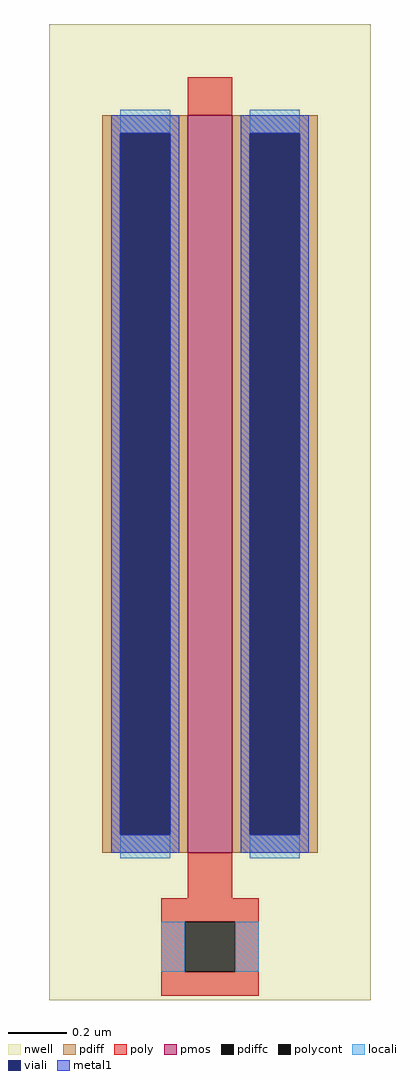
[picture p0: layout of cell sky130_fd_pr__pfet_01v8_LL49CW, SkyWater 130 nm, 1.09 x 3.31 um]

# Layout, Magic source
magic
tech sky130A
magscale 1 2
<< nwell >>
rect -109 -314 109 348
<< pmos >>
rect -15 -214 15 286
<< pdiff >>
rect -73 274 -15 286
rect -73 -202 -61 274
rect -27 -202 -15 274
rect -73 -214 -15 -202
rect 15 274 73 286
rect 15 -202 27 274
rect 61 -202 73 274
rect 15 -214 73 -202
<< pdiffc >>
rect -61 -202 -27 274
rect 27 -202 61 274
<< poly >>
rect -15 286 15 312
rect -15 -245 15 -214
rect -33 -261 33 -245
rect -33 -295 -17 -261
rect 17 -295 33 -261
rect -33 -311 33 -295
<< polycont >>
rect -17 -295 17 -261
<< locali >>
rect -61 274 -27 290
rect -61 -218 -27 -202
rect 27 274 61 290
rect 27 -218 61 -202
rect -33 -295 -17 -261
rect 17 -295 33 -261
<< viali >>
rect -61 -202 -27 274
rect 27 -202 61 274
<< metal1 >>
rect -67 274 -21 286
rect -67 -202 -61 274
rect -27 -202 -21 274
rect -67 -214 -21 -202
rect 21 274 67 286
rect 21 -202 27 274
rect 61 -202 67 274
rect 21 -214 67 -202
<< properties >>
string gencell sky130_fd_pr__pfet_01v8
string library sky130
string parameters w 2.5 l 0.15 m 1 nf 1 diffcov 100 polycov 100 guard 0 glc 1 grc 1 gtc 1 gbc 1 tbcov 100 rlcov 100 topc 0 botc 1 poverlap 0 doverlap 1 lmin 0.15 wmin 0.42 compatible {sky130_fd_pr__pfet_01v8  sky130_fd_pr__pfet_01v8_lvt sky130_fd_pr__pfet_01v8_hvt  sky130_fd_pr__pfet_g5v0d10v5} full_metal 1 viasrc 100 viadrn 100 viagate 0 viagb 0 viagr 0 viagl 0 viagt 0
<< end >>
